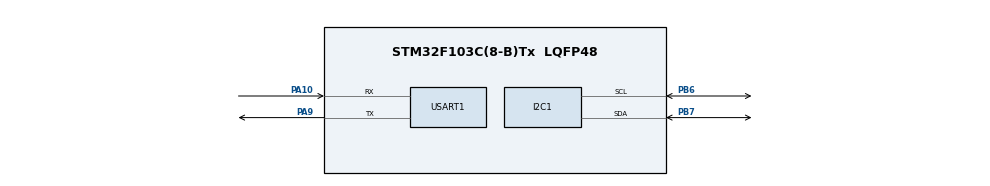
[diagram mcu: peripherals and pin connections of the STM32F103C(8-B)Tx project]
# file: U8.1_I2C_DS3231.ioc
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Mcu.Family=STM32F1
Mcu.Name=STM32F103C(8-B)Tx
Mcu.Package=LQFP48
NVIC.PriorityGroup=NVIC_PRIORITYGROUP_4
PA10.Mode=Asynchronous
PA10.Signal=USART1_RX
PA13.Mode=Serial_Wire
PA13.Signal=SYS_JTMS-SWDIO
PA14.Mode=Serial_Wire
PA14.Signal=SYS_JTCK-SWCLK
PA9.Mode=Asynchronous
PA9.Signal=USART1_TX
PB6.Mode=I2C
PB6.Signal=I2C1_SCL
PB7.Mode=I2C
PB7.Signal=I2C1_SDA
ProjectManager.HeapSize=0x200
ProjectManager.StackSize=0x400
ProjectManager.TargetToolchain=STM32CubeIDE
RCC.APB1Freq_Value=8000000
RCC.APB2Freq_Value=8000000
USART1.VirtualMode=VM_ASYNC
board=custom

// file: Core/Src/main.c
/* USER CODE BEGIN Header */
/**
  ******************************************************************************
  * @file           : main.c
  * @brief          : Main program body
  ******************************************************************************
  * @attention
  *
  * Copyright (c) 2022 STMicroelectronics.
  * All rights reserved.
  *
  * This software is licensed under terms that can be found in the LICENSE file
  * in the root directory of this software component.
  * If no LICENSE file comes with this software, it is provided AS-IS.
  *
  ******************************************************************************
  */
/* USER CODE END Header */
#include "main.h"

I2C_HandleTypeDef hi2c1;

UART_HandleTypeDef huart1;

void SystemClock_Config(void);
static void MX_GPIO_Init(void);
static void MX_I2C1_Init(void);
static void MX_USART1_UART_Init(void);

/* USER CODE BEGIN 0 */

#define ADD_RES 0x00

void set_time(){
	uint8_t buff[] = {
			0x00,
			0b00000000,
			0b01000100,
			0b00100010,
			0b00000110,
			0b00000100,
			0b00000011
	};
	HAL_I2C_Master_Transmit(&hi2c1, 0x68 << 1, buff, sizeof(buff), 200);
}

void get_time_hex(uint8_t *day, uint8_t *hour, uint8_t *minute, uint8_t *second){
	uint8_t buff[4];
	HAL_I2C_Master_Transmit(&hi2c1, 0x68 << 1, (uint8_t *) 0x00, 1, 200);
	HAL_I2C_Master_Receive(&hi2c1, 0x68 << 1, buff, 4, 200);
	*second = buff[0];
	*minute = buff[1];
	*hour = buff[2] & 0b00111111;
	*day = buff[3];
}

/* USER CODE END 0 */

int main(void)
{

  /* MCU Configuration--------------------------------------------------------*/

  /* Reset of all peripherals, Initializes the Flash interface and the Systick. */
  HAL_Init();

  /* Configure the system clock */
  SystemClock_Config();

  /* Initialize all configured peripherals */
  MX_GPIO_Init();
  MX_I2C1_Init();
  MX_USART1_UART_Init();
  /* USER CODE BEGIN 2 */
  uint8_t day, hour, minute, second;
//  set_time();
  /* USER CODE END 2 */

  /* Infinite loop */
  while (1)
  {

    /* USER CODE BEGIN 3 */
	  get_time_hex(&day, &hour, &minute, &second);
	  uint8_t data[18];
	  sprintf(data, "%x : %x : %x : %x\n", day, hour, minute, second);
	  HAL_UART_Transmit(&huart1, data, 18, 200);
	  HAL_Delay(1000);
  }
  /* USER CODE END 3 */
}

void SystemClock_Config(void)
{
  RCC_OscInitTypeDef RCC_OscInitStruct = {0};
  RCC_ClkInitTypeDef RCC_ClkInitStruct = {0};

  /** Initializes the RCC Oscillators according to the specified parameters
  * in the RCC_OscInitTypeDef structure.
  */
  RCC_OscInitStruct.OscillatorType = RCC_OSCILLATORTYPE_HSI;
  RCC_OscInitStruct.HSIState = RCC_HSI_ON;
  RCC_OscInitStruct.HSICalibrationValue = RCC_HSICALIBRATION_DEFAULT;
  RCC_OscInitStruct.PLL.PLLState = RCC_PLL_NONE;
  if (HAL_RCC_OscConfig(&RCC_OscInitStruct) != HAL_OK)
  {
    Error_Handler();
  }
  /** Initializes the CPU, AHB and APB buses clocks
  */
  RCC_ClkInitStruct.ClockType = RCC_CLOCKTYPE_HCLK|RCC_CLOCKTYPE_SYSCLK
                              |RCC_CLOCKTYPE_PCLK1|RCC_CLOCKTYPE_PCLK2;
  RCC_ClkInitStruct.SYSCLKSource = RCC_SYSCLKSOURCE_HSI;
  RCC_ClkInitStruct.AHBCLKDivider = RCC_SYSCLK_DIV1;
  RCC_ClkInitStruct.APB1CLKDivider = RCC_HCLK_DIV1;
  RCC_ClkInitStruct.APB2CLKDivider = RCC_HCLK_DIV1;

  if (HAL_RCC_ClockConfig(&RCC_ClkInitStruct, FLASH_LATENCY_0) != HAL_OK)
  {
    Error_Handler();
  }
}

static void MX_I2C1_Init(void)
{

  hi2c1.Instance = I2C1;
  hi2c1.Init.ClockSpeed = 100000;
  hi2c1.Init.DutyCycle = I2C_DUTYCYCLE_2;
  hi2c1.Init.OwnAddress1 = 0;
  hi2c1.Init.AddressingMode = I2C_ADDRESSINGMODE_7BIT;
  hi2c1.Init.DualAddressMode = I2C_DUALADDRESS_DISABLE;
  hi2c1.Init.OwnAddress2 = 0;
  hi2c1.Init.GeneralCallMode = I2C_GENERALCALL_DISABLE;
  hi2c1.Init.NoStretchMode = I2C_NOSTRETCH_DISABLE;
  if (HAL_I2C_Init(&hi2c1) != HAL_OK)
  {
    Error_Handler();
  }

}

static void MX_USART1_UART_Init(void)
{

  huart1.Instance = USART1;
  huart1.Init.BaudRate = 115200;
  huart1.Init.WordLength = UART_WORDLENGTH_8B;
  huart1.Init.StopBits = UART_STOPBITS_1;
  huart1.Init.Parity = UART_PARITY_NONE;
  huart1.Init.Mode = UART_MODE_TX_RX;
  huart1.Init.HwFlowCtl = UART_HWCONTROL_NONE;
  huart1.Init.OverSampling = UART_OVERSAMPLING_16;
  if (HAL_UART_Init(&huart1) != HAL_OK)
  {
    Error_Handler();
  }

}

static void MX_GPIO_Init(void)
{

  /* GPIO Ports Clock Enable */
  __HAL_RCC_GPIOA_CLK_ENABLE();
  __HAL_RCC_GPIOB_CLK_ENABLE();

}

void Error_Handler(void)
{
  __disable_irq();
  while (1)
  {
  }
}
